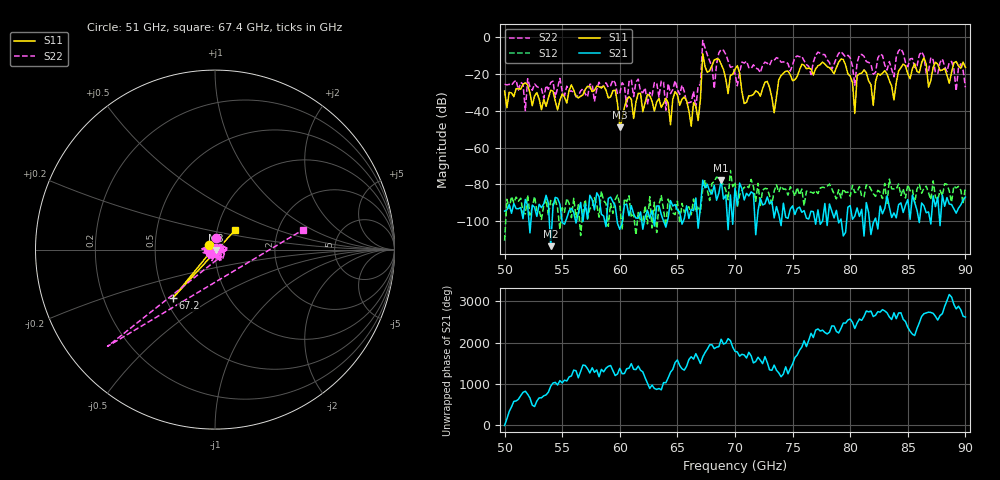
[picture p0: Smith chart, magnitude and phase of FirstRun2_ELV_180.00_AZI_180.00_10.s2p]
! 11/24/2026 3:26:35 PM
! C:\ANRITSUVNA\TEMP\TEMP.S2P
! CHANNEL.1
! TR.MEASUREMENT
! RAW.DATA
# HZ S RI R 50.0
! FREQ.HZ  S11RE  S11IM  S21RE  S21IM  S12RE  S12IM  S22RE  S22IM
!; PortSelection: Port_12
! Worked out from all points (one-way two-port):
!   201 points, 50 GHz to 90 GHz, reference 50 ohm
!   highest |S21| = -77.62 dB at 68.8 GHz (marker M1); lowest = -113.5 dB at 54 GHz (marker M2)
!   lowest |S11| = -48.9 dB at 60 GHz (marker M3), VSWR 1.01, Z = 50.3 - j0.161 ohm
!   |S11| at or under -10 dB: start of sweep to 67.19 GHz; 67.23 GHz to end of sweep
!   |S22| runs from -40.0 to -1.9 dB; largest |S21 - S12| = 0.00028
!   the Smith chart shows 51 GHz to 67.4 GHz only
!   S11 on the Smith chart (normalised r, x): 51 GHz: 0.94, +0.05; 67.2 GHz: 0.54, -0.34; 67.4 GHz: 1.22, +0.27
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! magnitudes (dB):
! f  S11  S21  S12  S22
! 50 GHz  -29.4  -94.4  -110.5  -25.6
! 51 GHz  -28.0  -93.1  -86.8  -23.4
! 51.8 GHz  -24.9  -88.1  -96.0  -40.0
! 54 GHz  -28.9  -113.5  -88.7  -24.7
! 56.8 GHz  -31.4  -100.1  -94.5  -28.0
! 59.6 GHz  -28.8  -91.6  -88.2  -25.0
! 60 GHz  -48.9  -104.3  -91.0  -30.5
! 63.4 GHz  -33.4  -91.6  -91.0  -32.6
! 66.8 GHz  -45.4  -103.7  -91.6  -26.4
! 67.2 GHz  -8.9  -77.6  -82.4  -1.9
! 67.4 GHz  -16.1  -81.8  -77.6  -5.9
! 68.2 GHz  -12.5  -80.4  -78.4  -28.1
! 68.8 GHz  -14.8  -77.6  -78.9  -6.7
! 70 GHz  -17.4  -82.0  -78.8  -19.9
! 73.4 GHz  -41.1  -98.2  -83.5  -12.7
! 74.2 GHz  -19.7  -90.2  -82.6  -13.5
! 76.8 GHz  -20.6  -94.8  -84.7  -13.6
! 79.4 GHz  -12.2  -107.9  -82.5  -9.4
! 80.4 GHz  -41.5  -97.1  -84.4  -26.3
! 80.6 GHz  -21.0  -92.7  -84.0  -14.0
! 83.4 GHz  -23.7  -92.4  -77.0  -13.3
! 90 GHz  -16.5  -86.8  -81.4  -27.3
